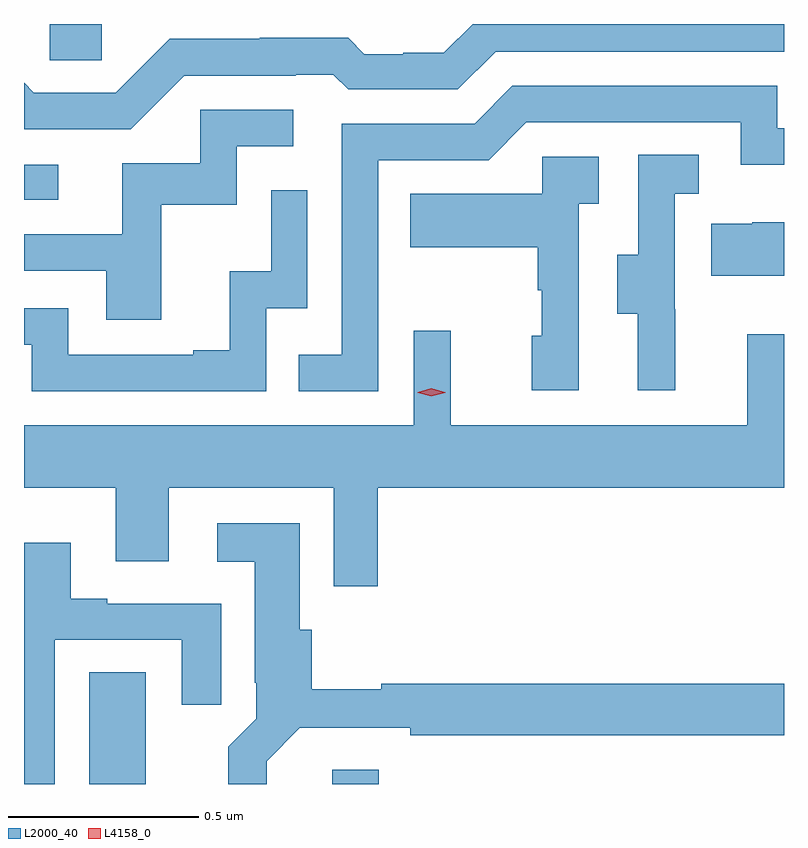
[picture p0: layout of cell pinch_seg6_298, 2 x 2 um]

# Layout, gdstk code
import gdstk
lib = gdstk.Library(unit=1e-6, precision=1e-09)
def R(c, l, rs):  # rectangles x0, y0, x1, y1
    for r in rs: c.add(gdstk.rectangle(r[:2], r[2:], *l))
def P(c, l, *ps):  # polygons
    for p in ps: c.add(gdstk.Polygon(p, *l))
L2000_40 = (2000, 40)
L4158_0 = (4158, 0)

pinch_seg6_298 = lib.new_cell('pinch_seg6_298')
R(pinch_seg6_298, L2000_40, [(789.626,981.188,789.775,981.482), (790.265,981.188,790.388,981.226), (789.454,982.725,789.544,982.818), (789.522,983.092,789.659,983.188)])
P(pinch_seg6_298, L2000_40, [(789.876,983.052),(790.169,983.052),(790.169,983.055),(790.268,983.055),(790.307,983.016),(790.596,983.016),(790.695,983.115),(791.454,983.115),(791.454,983.188),(790.635,983.188),(790.559,983.112),(790.452,983.112),(790.452,983.109),(790.349,983.109),(790.307,983.152),(790.074,983.152),(790.074,983.149),(789.838,983.149),(789.696,983.007),(789.48,983.007),(789.454,983.033),(789.454,982.911),(789.735,982.911)],
  [(790.386,982.83),(790.677,982.83),(790.776,982.929),(791.34,982.929),(791.34,982.817),(791.454,982.817),(791.454,982.914),(791.436,982.914),(791.436,983.025),(790.739,983.025),(790.64,982.926),(790.29,982.926),(790.29,982.317),(790.177,982.317),(790.177,982.221),(790.386,982.221)],
  [(789.815,982.713),(790.014,982.713),(790.014,982.866),(790.162,982.866),(790.162,982.962),(789.918,982.962),(789.918,982.821),(789.713,982.821),(789.713,982.635),(789.454,982.635),(789.454,982.539),(789.671,982.539),(789.671,982.41),(789.815,982.41)],
  [(791.168,982.437),(791.166,982.437),(791.166,982.741),(791.23,982.741),(791.23,982.844),(791.07,982.844),(791.07,982.581),(791.015,982.581),(791.015,982.426),(791.069,982.426),(791.069,982.224),(791.168,982.224)],
  [(790.914,982.715),(790.966,982.715),(790.966,982.839),(790.818,982.839),(790.818,982.741),(790.471,982.741),(790.471,982.601),(790.806,982.601),(790.806,982.487),(790.816,982.487),(790.816,982.368),(790.79,982.368),(790.79,982.224),(790.914,982.224)],
  [(790.092,982.44),(790.2,982.44),(790.2,982.75),(790.104,982.75),(790.104,982.538),(789.995,982.538),(789.995,982.33),(789.899,982.33),(789.899,982.317),(789.57,982.317),(789.57,982.44),(789.454,982.44),(789.454,982.344),(789.474,982.344),(789.474,982.221),(790.092,982.221)],
  [(791.454,982.666),(791.371,982.666),(791.371,982.663),(791.263,982.663),(791.263,982.526),(791.454,982.526)],
  [(790.385,981.968),(791.454,981.968),(791.454,982.372),(791.357,982.372),(791.357,982.132),(790.577,982.132),(790.577,982.381),(790.479,982.381),(790.479,982.132),(789.454,982.132),(789.454,981.968),(789.695,981.968),(789.695,981.774),(789.835,981.774),(789.835,981.968),(790.269,981.968),(790.269,981.708),(790.385,981.708)],
  [(790.093,981.248),(790.18,981.336),(790.471,981.336),(790.471,981.316),(791.454,981.316),(791.454,981.452),(790.394,981.452),(790.394,981.437),(790.211,981.437),(790.211,981.594),(790.18,981.594),(790.18,981.874),(789.963,981.874),(789.963,981.773),(790.061,981.773),(790.061,981.454),(790.065,981.454),(790.065,981.36),(789.991,981.286),(789.991,981.188),(790.093,981.188)],
  [(789.535,981.567),(789.869,981.567),(789.869,981.396),(789.973,981.396),(789.973,981.663),(789.673,981.663),(789.673,981.676),(789.577,981.676),(789.577,981.823),(789.454,981.823),(789.454,981.188),(789.535,981.188)])
P(pinch_seg6_298, L4158_0, [(790.526,982.209),(790.49,982.218),(790.49,982.219),(790.49,982.219),(790.526,982.229),(790.562,982.219),(790.562,982.219),(790.562,982.218)])

lib.write_gds('pinch_seg6_298.gds')
